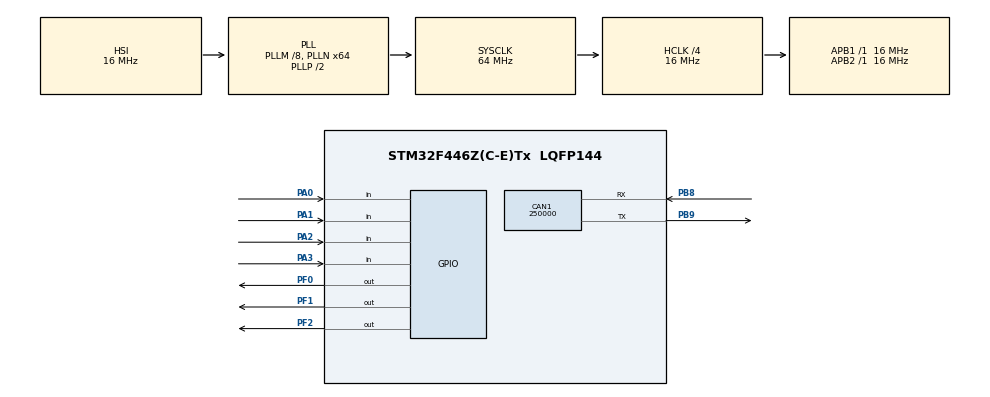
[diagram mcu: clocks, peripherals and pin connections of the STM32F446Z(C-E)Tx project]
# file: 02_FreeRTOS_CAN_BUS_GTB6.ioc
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CAN1.BS2=CAN_BS2_2TQ
CAN1.CalculateBaudRate=250000
CAN1.CalculateTimeBit=4000
CAN1.CalculateTimeQuantum=1000.0
FREERTOS.Tasks01=defaultTask,24,128,StartDefaultTask,Default,NULL,Dynamic,NULL,NULL;myTask02,8,128,StartTask02,Default,NULL,Dynamic,NULL,NULL;myTask03,8,128,StartTask03,Default,NULL,Dynamic,NULL,NULL
Mcu.Family=STM32F4
Mcu.Name=STM32F446Z(C-E)Tx
Mcu.Package=LQFP144
NVIC.PriorityGroup=NVIC_PRIORITYGROUP_4
PA0-WKUP.Signal=GPIO_Input
PA1.Signal=GPIO_Input
PA13.Mode=Serial_Wire
PA13.Signal=SYS_JTMS-SWDIO
PA14.Mode=Serial_Wire
PA14.Signal=SYS_JTCK-SWCLK
PA2.Signal=GPIO_Input
PA3.Signal=GPIO_Input
PB8.Mode=CAN_Activate
PB8.Signal=CAN1_RX
PB9.Mode=CAN_Activate
PB9.Signal=CAN1_TX
PF0.Signal=GPIO_Output
PF1.Signal=GPIO_Output
PF2.Signal=GPIO_Output
PH0-OSC_IN.Mode=HSE-External-Oscillator
PH0-OSC_IN.Signal=RCC_OSC_IN
PH1-OSC_OUT.Mode=HSE-External-Oscillator
PH1-OSC_OUT.Signal=RCC_OSC_OUT
ProjectManager.HeapSize=0x200
ProjectManager.StackSize=0x400
ProjectManager.TargetToolchain=STM32CubeIDE
RCC.AHBCLKDivider=RCC_SYSCLK_DIV4
RCC.AHBFreq_Value=16000000
RCC.APB1Freq_Value=16000000
RCC.APB1TimFreq_Value=16000000
RCC.APB2Freq_Value=16000000
RCC.APB2TimFreq_Value=16000000
RCC.CortexFreq_Value=16000000
RCC.HCLKFreq_Value=16000000
RCC.HSE_VALUE=8000000
RCC.PLLM=8
RCC.PLLN=64
RCC.SYSCLKFreq_VALUE=64000000
RCC.SYSCLKSource=RCC_SYSCLKSOURCE_PLLCLK
RCC.USBFreq_Value=64000000
RCC.VCOOutputFreq_Value=128000000
VP_FREERTOS_VS_CMSIS_V2.Mode=CMSIS_V2
board=custom

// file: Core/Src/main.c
/* USER CODE BEGIN Header */
/**
  ******************************************************************************
  * @file           : main.c
  * @brief          : Main program body
  ******************************************************************************
  * @attention
  *
  * Copyright (c) 2024 STMicroelectronics.
  * All rights reserved.
  *
  * This software is licensed under terms that can be found in the LICENSE file
  * in the root directory of this software component.
  * If no LICENSE file comes with this software, it is provided AS-IS.
  *
  ******************************************************************************
  */
/* USER CODE END Header */
#include "main.h"
#include "cmsis_os.h"

/* USER CODE BEGIN PD */
CAN_FilterTypeDef sFilterConfig;
/* USER CODE END PD */

CAN_HandleTypeDef hcan1;

/* Definitions for defaultTask */
osThreadId_t defaultTaskHandle;
const osThreadAttr_t defaultTask_attributes = {
  .name = "defaultTask",
  .stack_size = 128 * 4,
  .priority = (osPriority_t) osPriorityNormal,
};
/* Definitions for myTask02 */
osThreadId_t myTask02Handle;
const osThreadAttr_t myTask02_attributes = {
  .name = "myTask02",
  .stack_size = 128 * 4,
  .priority = (osPriority_t) osPriorityLow,
};
/* Definitions for myTask03 */
osThreadId_t myTask03Handle;
const osThreadAttr_t myTask03_attributes = {
  .name = "myTask03",
  .stack_size = 128 * 4,
  .priority = (osPriority_t) osPriorityLow,
};

void SystemClock_Config(void);
static void MX_GPIO_Init(void);
static void MX_CAN1_Init(void);
void StartDefaultTask(void *argument);
void StartTask02(void *argument);
void StartTask03(void *argument);

/* USER CODE BEGIN 0 */
CAN_TxHeaderTypeDef TxTransmitter;
CAN_RxHeaderTypeDef RxReceiver;

unsigned char TxData[8];
//unsigned char RxData[8];
uint16_t RxData[8];
uint32_t TxMailbox;
/* USER CODE END 0 */

int main(void)
{

  /* MCU Configuration--------------------------------------------------------*/

  /* Reset of all peripherals, Initializes the Flash interface and the Systick. */
  HAL_Init();

  /* Configure the system clock */
  SystemClock_Config();

  /* Initialize all configured peripherals */
  MX_GPIO_Init();
  MX_CAN1_Init();
  /* USER CODE BEGIN 2 */
  HAL_CAN_Start(&hcan1);

  if (HAL_CAN_ActivateNotification(&hcan1, CAN_IT_RX_FIFO0_MSG_PENDING) != HAL_OK)
 	  {
 	    Error_Handler();
 	  }
 	  sFilterConfig.FilterBank = 0;
 	  sFilterConfig.FilterMode = CAN_FILTERMODE_IDMASK;
 	  sFilterConfig.FilterScale = CAN_FILTERSCALE_32BIT;
 	  sFilterConfig.FilterIdHigh = 0x0000;
 	 sFilterConfig.FilterIdLow = 0x0000;
 	  sFilterConfig.FilterMaskIdHigh =0x0000;
 	  sFilterConfig.FilterMaskIdLow = 0x0000;
 	  sFilterConfig.FilterFIFOAssignment = CAN_RX_FIFO0;
 	  sFilterConfig.FilterActivation = ENABLE;
 	  if (HAL_CAN_ConfigFilter(&hcan1, &sFilterConfig) != HAL_OK)
 	  {
 	    Error_Handler();
 	  }

 	TxTransmitter.StdId=0x000;
 	TxTransmitter.DLC=8;
 	TxTransmitter.IDE=CAN_ID_STD;
 	TxTransmitter.RTR = CAN_RTR_DATA;

 		TxData[0]=0x23;
 		TxData[1]=0x00;
 		TxData[2]=0x20;
 		TxData[3]=0x01;
 		TxData[4]=0x34;//0x34;
 		TxData[5]=0x00;//0xFE;
 		TxData[6]=0x00;
 		TxData[7]=0x00;

 		RxReceiver.StdId=0x000;
 		RxReceiver.DLC=8;
 		RxReceiver.IDE=CAN_ID_STD;
 		RxReceiver.RTR=CAN_RTR_DATA;
  /* USER CODE END 2 */

  /* Init scheduler */
  osKernelInitialize();

  /* Create the thread(s) */
  /* creation of defaultTask */
  defaultTaskHandle = osThreadNew(StartDefaultTask, NULL, &defaultTask_attributes);

  /* creation of myTask02 */
  myTask02Handle = osThreadNew(StartTask02, NULL, &myTask02_attributes);

  /* creation of myTask03 */
  myTask03Handle = osThreadNew(StartTask03, NULL, &myTask03_attributes);

  /* Start scheduler */
  osKernelStart();

  /* We should never get here as control is now taken by the scheduler */
  /* Infinite loop */
  while (1)
  {

  }
}

void SystemClock_Config(void)
{
  RCC_OscInitTypeDef RCC_OscInitStruct = {0};
  RCC_ClkInitTypeDef RCC_ClkInitStruct = {0};

  /** Configure the main internal regulator output voltage
  */
  __HAL_RCC_PWR_CLK_ENABLE();
  __HAL_PWR_VOLTAGESCALING_CONFIG(PWR_REGULATOR_VOLTAGE_SCALE3);

  /** Initializes the RCC Oscillators according to the specified parameters
  * in the RCC_OscInitTypeDef structure.
  */
  RCC_OscInitStruct.OscillatorType = RCC_OSCILLATORTYPE_HSI;
  RCC_OscInitStruct.HSIState = RCC_HSI_ON;
  RCC_OscInitStruct.HSICalibrationValue = RCC_HSICALIBRATION_DEFAULT;
  RCC_OscInitStruct.PLL.PLLState = RCC_PLL_ON;
  RCC_OscInitStruct.PLL.PLLSource = RCC_PLLSOURCE_HSI;
  RCC_OscInitStruct.PLL.PLLM = 8;
  RCC_OscInitStruct.PLL.PLLN = 64;
  RCC_OscInitStruct.PLL.PLLP = RCC_PLLP_DIV2;
  RCC_OscInitStruct.PLL.PLLQ = 2;
  RCC_OscInitStruct.PLL.PLLR = 2;
  if (HAL_RCC_OscConfig(&RCC_OscInitStruct) != HAL_OK)
  {
    Error_Handler();
  }

  /** Initializes the CPU, AHB and APB buses clocks
  */
  RCC_ClkInitStruct.ClockType = RCC_CLOCKTYPE_HCLK|RCC_CLOCKTYPE_SYSCLK
                              |RCC_CLOCKTYPE_PCLK1|RCC_CLOCKTYPE_PCLK2;
  RCC_ClkInitStruct.SYSCLKSource = RCC_SYSCLKSOURCE_PLLCLK;
  RCC_ClkInitStruct.AHBCLKDivider = RCC_SYSCLK_DIV4;
  RCC_ClkInitStruct.APB1CLKDivider = RCC_HCLK_DIV1;
  RCC_ClkInitStruct.APB2CLKDivider = RCC_HCLK_DIV1;

  if (HAL_RCC_ClockConfig(&RCC_ClkInitStruct, FLASH_LATENCY_0) != HAL_OK)
  {
    Error_Handler();
  }
}

static void MX_CAN1_Init(void)
{

  hcan1.Instance = CAN1;
  hcan1.Init.Prescaler = 16;
  hcan1.Init.Mode = CAN_MODE_NORMAL;
  hcan1.Init.SyncJumpWidth = CAN_SJW_1TQ;
  hcan1.Init.TimeSeg1 = CAN_BS1_1TQ;
  hcan1.Init.TimeSeg2 = CAN_BS2_2TQ;
  hcan1.Init.TimeTriggeredMode = DISABLE;
  hcan1.Init.AutoBusOff = DISABLE;
  hcan1.Init.AutoWakeUp = DISABLE;
  hcan1.Init.AutoRetransmission = DISABLE;
  hcan1.Init.ReceiveFifoLocked = DISABLE;
  hcan1.Init.TransmitFifoPriority = DISABLE;
  if (HAL_CAN_Init(&hcan1) != HAL_OK)
  {
    Error_Handler();
  }

}

static void MX_GPIO_Init(void)
{
  GPIO_InitTypeDef GPIO_InitStruct = {0};

  /* GPIO Ports Clock Enable */
  __HAL_RCC_GPIOF_CLK_ENABLE();
  __HAL_RCC_GPIOH_CLK_ENABLE();
  __HAL_RCC_GPIOA_CLK_ENABLE();
  __HAL_RCC_GPIOB_CLK_ENABLE();

  /*Configure GPIO pin Output Level */
  HAL_GPIO_WritePin(GPIOF, GPIO_PIN_0|GPIO_PIN_1|GPIO_PIN_2, GPIO_PIN_RESET);

  /*Configure GPIO pins : PF0 PF1 PF2 */
  GPIO_InitStruct.Pin = GPIO_PIN_0|GPIO_PIN_1|GPIO_PIN_2;
  GPIO_InitStruct.Mode = GPIO_MODE_OUTPUT_PP;
  GPIO_InitStruct.Pull = GPIO_NOPULL;
  GPIO_InitStruct.Speed = GPIO_SPEED_FREQ_LOW;
  HAL_GPIO_Init(GPIOF, &GPIO_InitStruct);

  /*Configure GPIO pins : PA0 PA1 PA2 PA3 */
  GPIO_InitStruct.Pin = GPIO_PIN_0|GPIO_PIN_1|GPIO_PIN_2|GPIO_PIN_3;
  GPIO_InitStruct.Mode = GPIO_MODE_INPUT;
  GPIO_InitStruct.Pull = GPIO_NOPULL;
  HAL_GPIO_Init(GPIOA, &GPIO_InitStruct);

}

void StartDefaultTask(void *argument)
{
  /* USER CODE BEGIN 5 */
  /* Infinite loop */
  for(;;)
  {
	HAL_CAN_AddTxMessage(&hcan1, &TxTransmitter, TxData, &TxMailbox);

    osDelay(1);
  }
  /* USER CODE END 5 */
}

void StartTask02(void *argument)
{
  /* USER CODE BEGIN StartTask02 */
  /* Infinite loop */
  for(;;)
  {
	  if(HAL_GPIO_ReadPin(GPIOA, GPIO_PIN_1) == GPIO_PIN_SET)
	  {
		  HAL_GPIO_WritePin(GPIOF, GPIO_PIN_0, SET);
	  }
	  else if(HAL_GPIO_ReadPin(GPIOA, GPIO_PIN_1)== GPIO_PIN_RESET)
	  {
		  HAL_GPIO_WritePin(GPIOF, GPIO_PIN_0, RESET);
	  }
    osDelay(1);
  }
  /* USER CODE END StartTask02 */
}

void StartTask03(void *argument)
{
  /* USER CODE BEGIN StartTask03 */
  /* Infinite loop */
  for(;;)
  {
	  if(HAL_GPIO_ReadPin(GPIOA, GPIO_PIN_1) == GPIO_PIN_RESET)
	  {
		  HAL_GPIO_WritePin(GPIOF, GPIO_PIN_1, SET);
	  }
	  else if(HAL_GPIO_ReadPin(GPIOA, GPIO_PIN_1) == GPIO_PIN_SET)
	  {
		  HAL_GPIO_WritePin(GPIOF, GPIO_PIN_1, RESET);
	  }
    osDelay(1);
  }
  /* USER CODE END StartTask03 */
}

void Error_Handler(void)
{
  __disable_irq();
  while (1)
  {
  }
}
